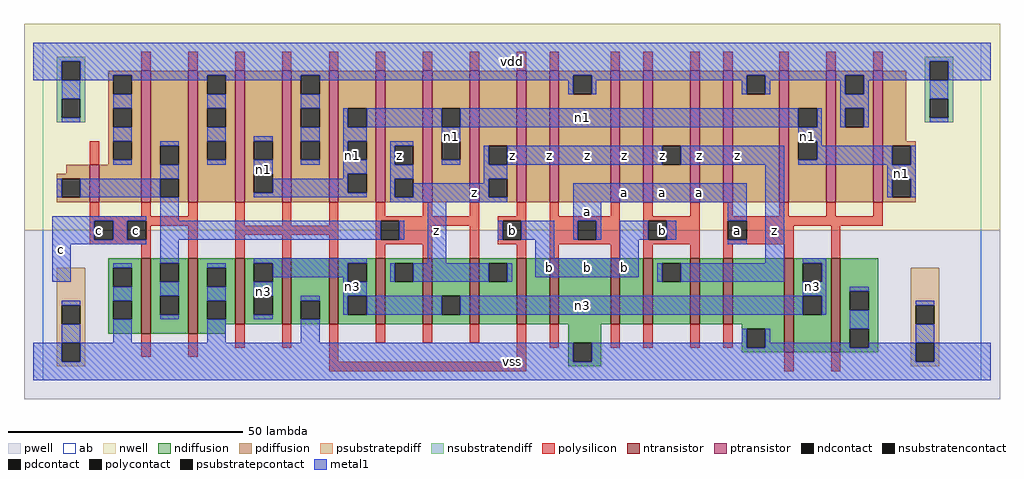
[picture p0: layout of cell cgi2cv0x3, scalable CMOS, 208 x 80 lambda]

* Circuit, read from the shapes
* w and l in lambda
.subckt cgi2cv0x3 a b c n1 n3 vdd vss z
M1 n2 c vss vss nfet w=16 l=2 m=2
M2 n3 b vss vss nfet w=14 l=2 m=3
M3 z n2 n3 vss nfet w=14 l=2 m=3
M4 n4 b z vss nfet w=14 l=2
M5 vss a n4 vss nfet w=14 l=2
M6 n5 a vss vss nfet w=14 l=2
M7 z b n5 vss nfet w=14 l=2
M8 n6 b z vss nfet w=14 l=2
M9 vss a n6 vss nfet w=14 l=2
M10 n3 a vss vss nfet w=20 l=2 m=2
M11 vdd c n2 vdd pfet w=8 l=2
M12 n2 c vdd vdd pfet w=28 l=2 m=2
M13 n1 b vdd vdd pfet w=28 l=2 m=3
M14 z n2 n1 vdd pfet w=28 l=2 m=3
M15 n7 b z vdd pfet w=28 l=2
M16 vdd a n7 vdd pfet w=28 l=2
M17 n8 a vdd vdd pfet w=28 l=2
M18 z b n8 vdd pfet w=28 l=2
M19 n9 b z vdd pfet w=28 l=2
M20 vdd a n9 vdd pfet w=28 l=2
M21 n1 a vdd vdd pfet w=28 l=2 m=3
.ends

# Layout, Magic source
magic
tech scmos
<< ab >>
rect 0 0 200 72
<< pwell >>
rect -4 -4 204 32
<< nwell >>
rect -4 32 204 76
<< polysilicon >>
rect 21 66 23 70
rect 31 66 33 70
rect 41 66 43 70
rect 51 66 53 70
rect 61 66 63 70
rect 71 66 73 70
rect 81 66 83 70
rect 91 66 93 70
rect 101 66 103 70
rect 108 66 110 70
rect 121 66 123 70
rect 128 66 130 70
rect 138 66 140 70
rect 145 66 147 70
rect 157 66 159 70
rect 167 66 169 70
rect 177 66 179 70
rect 10 46 12 51
rect 10 35 12 38
rect 21 35 23 38
rect 31 35 33 38
rect 10 34 33 35
rect 10 30 11 34
rect 15 30 18 34
rect 22 33 33 34
rect 22 30 23 33
rect 10 29 23 30
rect 21 26 23 29
rect 31 26 33 33
rect 41 33 43 38
rect 51 33 53 38
rect 61 33 63 38
rect 41 31 63 33
rect 41 26 43 31
rect 51 26 53 31
rect 61 26 63 31
rect 71 35 73 38
rect 81 35 83 38
rect 91 35 93 38
rect 101 35 103 38
rect 71 34 93 35
rect 71 30 72 34
rect 76 33 93 34
rect 76 30 83 33
rect 71 29 83 30
rect 71 26 73 29
rect 81 26 83 29
rect 91 26 93 33
rect 97 34 103 35
rect 97 30 98 34
rect 102 30 103 34
rect 97 29 103 30
rect 101 26 103 29
rect 108 35 110 38
rect 121 35 123 38
rect 108 34 123 35
rect 108 30 114 34
rect 118 30 123 34
rect 108 29 123 30
rect 108 26 110 29
rect 121 26 123 29
rect 128 35 130 38
rect 138 35 140 38
rect 128 34 140 35
rect 128 30 129 34
rect 133 30 140 34
rect 128 29 140 30
rect 128 26 130 29
rect 138 26 140 29
rect 145 35 147 38
rect 157 35 159 38
rect 167 35 169 38
rect 177 35 179 38
rect 145 34 179 35
rect 145 30 146 34
rect 150 33 179 34
rect 150 30 160 33
rect 145 29 160 30
rect 145 26 147 29
rect 158 26 160 29
rect 168 26 170 33
rect 21 5 23 10
rect 31 5 33 10
rect 41 7 43 12
rect 51 7 53 12
rect 61 4 63 12
rect 71 8 73 12
rect 81 8 83 12
rect 91 8 93 12
rect 101 4 103 12
rect 108 7 110 12
rect 61 2 103 4
rect 121 7 123 12
rect 128 7 130 12
rect 138 7 140 12
rect 145 7 147 12
rect 158 2 160 6
rect 168 2 170 6
<< ndiffusion >>
rect 14 24 21 26
rect 14 20 15 24
rect 19 20 21 24
rect 14 17 21 20
rect 14 13 15 17
rect 19 13 21 17
rect 14 10 21 13
rect 23 25 31 26
rect 23 21 25 25
rect 29 21 31 25
rect 23 18 31 21
rect 23 14 25 18
rect 29 14 31 18
rect 23 10 31 14
rect 33 24 41 26
rect 33 20 35 24
rect 39 20 41 24
rect 33 17 41 20
rect 33 13 35 17
rect 39 13 41 17
rect 33 12 41 13
rect 43 25 51 26
rect 43 21 45 25
rect 49 21 51 25
rect 43 18 51 21
rect 43 14 45 18
rect 49 14 51 18
rect 43 12 51 14
rect 53 17 61 26
rect 53 13 55 17
rect 59 13 61 17
rect 53 12 61 13
rect 63 25 71 26
rect 63 21 65 25
rect 69 21 71 25
rect 63 18 71 21
rect 63 14 65 18
rect 69 14 71 18
rect 63 12 71 14
rect 73 25 81 26
rect 73 21 75 25
rect 79 21 81 25
rect 73 12 81 21
rect 83 18 91 26
rect 83 14 85 18
rect 89 14 91 18
rect 83 12 91 14
rect 93 25 101 26
rect 93 21 95 25
rect 99 21 101 25
rect 93 12 101 21
rect 103 12 108 26
rect 110 12 121 26
rect 123 12 128 26
rect 130 25 138 26
rect 130 21 132 25
rect 136 21 138 25
rect 130 12 138 21
rect 140 12 145 26
rect 147 12 158 26
rect 33 10 39 12
rect 112 8 119 12
rect 112 4 113 8
rect 117 4 119 8
rect 149 11 158 12
rect 149 7 150 11
rect 154 7 158 11
rect 149 6 158 7
rect 160 25 168 26
rect 160 21 162 25
rect 166 21 168 25
rect 160 18 168 21
rect 160 14 162 18
rect 166 14 168 18
rect 160 6 168 14
rect 170 19 178 26
rect 170 15 172 19
rect 176 15 178 19
rect 170 11 178 15
rect 170 7 172 11
rect 176 7 178 11
rect 170 6 178 7
rect 112 3 119 4
<< pdiffusion >>
rect 14 65 21 66
rect 14 61 15 65
rect 19 61 21 65
rect 14 58 21 61
rect 14 54 15 58
rect 19 54 21 58
rect 14 51 21 54
rect 14 47 15 51
rect 19 47 21 51
rect 14 46 21 47
rect 5 44 10 46
rect 3 43 10 44
rect 3 39 4 43
rect 8 39 10 43
rect 3 38 10 39
rect 12 38 21 46
rect 23 50 31 66
rect 23 46 25 50
rect 29 46 31 50
rect 23 43 31 46
rect 23 39 25 43
rect 29 39 31 43
rect 23 38 31 39
rect 33 65 41 66
rect 33 61 35 65
rect 39 61 41 65
rect 33 58 41 61
rect 33 54 35 58
rect 39 54 41 58
rect 33 51 41 54
rect 33 47 35 51
rect 39 47 41 51
rect 33 38 41 47
rect 43 51 51 66
rect 43 47 45 51
rect 49 47 51 51
rect 43 44 51 47
rect 43 40 45 44
rect 49 40 51 44
rect 43 38 51 40
rect 53 65 61 66
rect 53 61 55 65
rect 59 61 61 65
rect 53 58 61 61
rect 53 54 55 58
rect 59 54 61 58
rect 53 51 61 54
rect 53 47 55 51
rect 59 47 61 51
rect 53 38 61 47
rect 63 58 71 66
rect 63 54 65 58
rect 69 54 71 58
rect 63 51 71 54
rect 63 47 65 51
rect 69 47 71 51
rect 63 44 71 47
rect 63 40 65 44
rect 69 40 71 44
rect 63 38 71 40
rect 73 50 81 66
rect 73 46 75 50
rect 79 46 81 50
rect 73 43 81 46
rect 73 39 75 43
rect 79 39 81 43
rect 73 38 81 39
rect 83 58 91 66
rect 83 54 85 58
rect 89 54 91 58
rect 83 51 91 54
rect 83 47 85 51
rect 89 47 91 51
rect 83 38 91 47
rect 93 50 101 66
rect 93 46 95 50
rect 99 46 101 50
rect 93 43 101 46
rect 93 39 95 43
rect 99 39 101 43
rect 93 38 101 39
rect 103 38 108 66
rect 110 65 121 66
rect 110 61 113 65
rect 117 61 121 65
rect 110 38 121 61
rect 123 38 128 66
rect 130 50 138 66
rect 130 46 132 50
rect 136 46 138 50
rect 130 38 138 46
rect 140 38 145 66
rect 147 65 157 66
rect 147 61 150 65
rect 154 61 157 65
rect 147 38 157 61
rect 159 58 167 66
rect 159 54 161 58
rect 165 54 167 58
rect 159 51 167 54
rect 159 47 161 51
rect 165 47 167 51
rect 159 38 167 47
rect 169 65 177 66
rect 169 61 171 65
rect 175 61 177 65
rect 169 58 177 61
rect 169 54 171 58
rect 175 54 177 58
rect 169 38 177 54
rect 179 51 184 66
rect 179 50 186 51
rect 179 46 181 50
rect 185 46 186 50
rect 179 43 186 46
rect 179 39 181 43
rect 185 39 186 43
rect 179 38 186 39
<< metal1 >>
rect -2 68 202 72
rect -2 64 4 68
rect 8 65 189 68
rect 8 64 15 65
rect 4 60 8 64
rect 4 55 8 56
rect 19 64 35 65
rect 15 58 19 61
rect 15 51 19 54
rect 39 64 55 65
rect 35 58 39 61
rect 35 51 39 54
rect 59 64 113 65
rect 112 61 113 64
rect 117 64 150 65
rect 117 61 118 64
rect 149 61 150 64
rect 154 64 171 65
rect 154 61 155 64
rect 170 61 171 64
rect 175 64 189 65
rect 193 64 202 68
rect 175 61 176 64
rect 55 58 59 61
rect 170 58 176 61
rect 15 46 19 47
rect 25 50 29 51
rect 35 46 39 47
rect 45 51 49 52
rect 25 43 29 46
rect 3 39 4 43
rect 8 39 25 43
rect 45 44 49 47
rect 55 51 59 54
rect 55 46 59 47
rect 64 54 65 58
rect 69 54 85 58
rect 89 54 161 58
rect 165 54 166 58
rect 170 54 171 58
rect 175 54 176 58
rect 189 60 193 64
rect 189 55 193 56
rect 64 51 69 54
rect 85 51 89 54
rect 64 47 65 51
rect 64 44 69 47
rect 64 43 65 44
rect 49 40 65 43
rect 45 39 69 40
rect 74 50 79 51
rect 74 46 75 50
rect 161 51 166 54
rect 85 46 89 47
rect 94 46 95 50
rect 99 46 132 50
rect 136 46 158 50
rect 165 50 166 51
rect 165 47 181 50
rect 161 46 181 47
rect 185 46 186 50
rect 74 43 79 46
rect 74 39 75 43
rect 94 43 99 46
rect 94 42 95 43
rect 79 39 95 42
rect 2 34 22 35
rect 2 30 11 34
rect 15 30 18 34
rect 2 29 22 30
rect 25 34 29 39
rect 74 38 99 39
rect 113 38 150 42
rect 25 30 72 34
rect 76 30 77 34
rect 2 21 6 29
rect 25 25 29 30
rect 45 25 69 26
rect 82 25 86 38
rect 113 34 119 38
rect 146 34 150 38
rect 97 30 98 34
rect 102 30 109 34
rect 113 30 114 34
rect 118 30 119 34
rect 123 30 129 34
rect 133 30 135 34
rect 105 26 109 30
rect 123 26 127 30
rect 146 29 150 30
rect 15 24 19 25
rect 15 17 19 20
rect 4 16 8 17
rect 4 8 8 12
rect 25 18 29 21
rect 25 13 29 14
rect 35 24 39 25
rect 35 17 39 20
rect 49 22 65 25
rect 45 18 49 21
rect 64 21 65 22
rect 74 21 75 25
rect 79 21 95 25
rect 99 21 100 25
rect 105 22 127 26
rect 154 25 158 46
rect 180 43 186 46
rect 180 39 181 43
rect 185 39 186 43
rect 131 21 132 25
rect 136 21 158 25
rect 162 25 167 26
rect 166 21 167 25
rect 64 18 69 21
rect 162 18 167 21
rect 45 13 49 14
rect 55 17 59 18
rect 64 14 65 18
rect 69 14 85 18
rect 89 14 162 18
rect 166 14 167 18
rect 172 19 176 20
rect 15 8 19 13
rect 35 8 39 13
rect 55 8 59 13
rect 172 11 176 15
rect 149 8 150 11
rect -2 4 4 8
rect 8 4 113 8
rect 117 7 150 8
rect 154 8 155 11
rect 154 7 172 8
rect 186 16 190 17
rect 186 8 190 12
rect 176 7 186 8
rect 117 4 186 7
rect 190 4 202 8
rect -2 0 202 4
<< ntransistor >>
rect 21 10 23 26
rect 31 10 33 26
rect 41 12 43 26
rect 51 12 53 26
rect 61 12 63 26
rect 71 12 73 26
rect 81 12 83 26
rect 91 12 93 26
rect 101 12 103 26
rect 108 12 110 26
rect 121 12 123 26
rect 128 12 130 26
rect 138 12 140 26
rect 145 12 147 26
rect 158 6 160 26
rect 168 6 170 26
<< ptransistor >>
rect 10 38 12 46
rect 21 38 23 66
rect 31 38 33 66
rect 41 38 43 66
rect 51 38 53 66
rect 61 38 63 66
rect 71 38 73 66
rect 81 38 83 66
rect 91 38 93 66
rect 101 38 103 66
rect 108 38 110 66
rect 121 38 123 66
rect 128 38 130 66
rect 138 38 140 66
rect 145 38 147 66
rect 157 38 159 66
rect 167 38 169 66
rect 177 38 179 66
<< polycontact >>
rect 11 30 15 34
rect 18 30 22 34
rect 72 30 76 34
rect 98 30 102 34
rect 114 30 118 34
rect 129 30 133 34
rect 146 30 150 34
<< ndcontact >>
rect 15 20 19 24
rect 15 13 19 17
rect 25 21 29 25
rect 25 14 29 18
rect 35 20 39 24
rect 35 13 39 17
rect 45 21 49 25
rect 45 14 49 18
rect 55 13 59 17
rect 65 21 69 25
rect 65 14 69 18
rect 75 21 79 25
rect 85 14 89 18
rect 95 21 99 25
rect 132 21 136 25
rect 113 4 117 8
rect 150 7 154 11
rect 162 21 166 25
rect 162 14 166 18
rect 172 15 176 19
rect 172 7 176 11
<< pdcontact >>
rect 15 61 19 65
rect 15 54 19 58
rect 15 47 19 51
rect 4 39 8 43
rect 25 46 29 50
rect 25 39 29 43
rect 35 61 39 65
rect 35 54 39 58
rect 35 47 39 51
rect 45 47 49 51
rect 45 40 49 44
rect 55 61 59 65
rect 55 54 59 58
rect 55 47 59 51
rect 65 54 69 58
rect 65 47 69 51
rect 65 40 69 44
rect 75 46 79 50
rect 75 39 79 43
rect 85 54 89 58
rect 85 47 89 51
rect 95 46 99 50
rect 95 39 99 43
rect 113 61 117 65
rect 132 46 136 50
rect 150 61 154 65
rect 161 54 165 58
rect 161 47 165 51
rect 171 61 175 65
rect 171 54 175 58
rect 181 46 185 50
rect 181 39 185 43
<< psubstratepcontact >>
rect 4 12 8 16
rect 4 4 8 8
rect 186 12 190 16
rect 186 4 190 8
<< nsubstratencontact >>
rect 4 64 8 68
rect 4 56 8 60
rect 189 64 193 68
rect 189 56 193 60
<< psubstratepdiff >>
rect 3 16 9 24
rect 3 12 4 16
rect 8 12 9 16
rect 3 8 9 12
rect 3 4 4 8
rect 8 4 9 8
rect 3 3 9 4
rect 185 16 191 24
rect 185 12 186 16
rect 190 12 191 16
rect 185 8 191 12
rect 185 4 186 8
rect 190 4 191 8
rect 185 3 191 4
<< nsubstratendiff >>
rect 3 68 9 69
rect 3 64 4 68
rect 8 64 9 68
rect 188 68 194 69
rect 3 60 9 64
rect 3 56 4 60
rect 8 56 9 60
rect 3 55 9 56
rect 188 64 189 68
rect 193 64 194 68
rect 188 60 194 64
rect 188 56 189 60
rect 193 56 194 60
rect 188 55 194 56
<< labels >>
rlabel polycontact 12 32 12 32 6 c
rlabel polycontact 20 32 20 32 6 c
rlabel metal1 4 28 4 28 6 c
rlabel metal1 66 20 66 20 6 n3
rlabel metal1 47 19 47 19 6 n3
rlabel metal1 47 45 47 45 6 n1
rlabel pdcontact 76 48 76 48 6 z
rlabel pdcontact 66 48 66 48 6 n1
rlabel metal1 100 4 100 4 6 vss
rlabel metal1 108 24 108 24 6 b
rlabel metal1 116 24 116 24 6 b
rlabel metal1 84 32 84 32 6 z
rlabel polycontact 100 32 100 32 6 b
rlabel metal1 92 40 92 40 6 z
rlabel metal1 116 36 116 36 6 a
rlabel metal1 116 48 116 48 6 z
rlabel metal1 100 48 100 48 6 z
rlabel metal1 108 48 108 48 6 z
rlabel metal1 87 52 87 52 6 n1
rlabel metal1 100 68 100 68 6 vdd
rlabel metal1 124 24 124 24 6 b
rlabel polycontact 148 32 148 32 6 a
rlabel metal1 156 32 156 32 6 z
rlabel polycontact 132 32 132 32 6 b
rlabel metal1 124 40 124 40 6 a
rlabel metal1 132 40 132 40 6 a
rlabel metal1 140 40 140 40 6 a
rlabel metal1 124 48 124 48 6 z
rlabel metal1 140 48 140 48 6 z
rlabel metal1 148 48 148 48 6 z
rlabel metal1 132 48 132 48 6 z
rlabel metal1 164 20 164 20 6 n3
rlabel metal1 115 16 115 16 6 n3
rlabel metal1 183 44 183 44 6 n1
rlabel metal1 163 52 163 52 6 n1
rlabel metal1 115 56 115 56 6 n1
<< end >>
